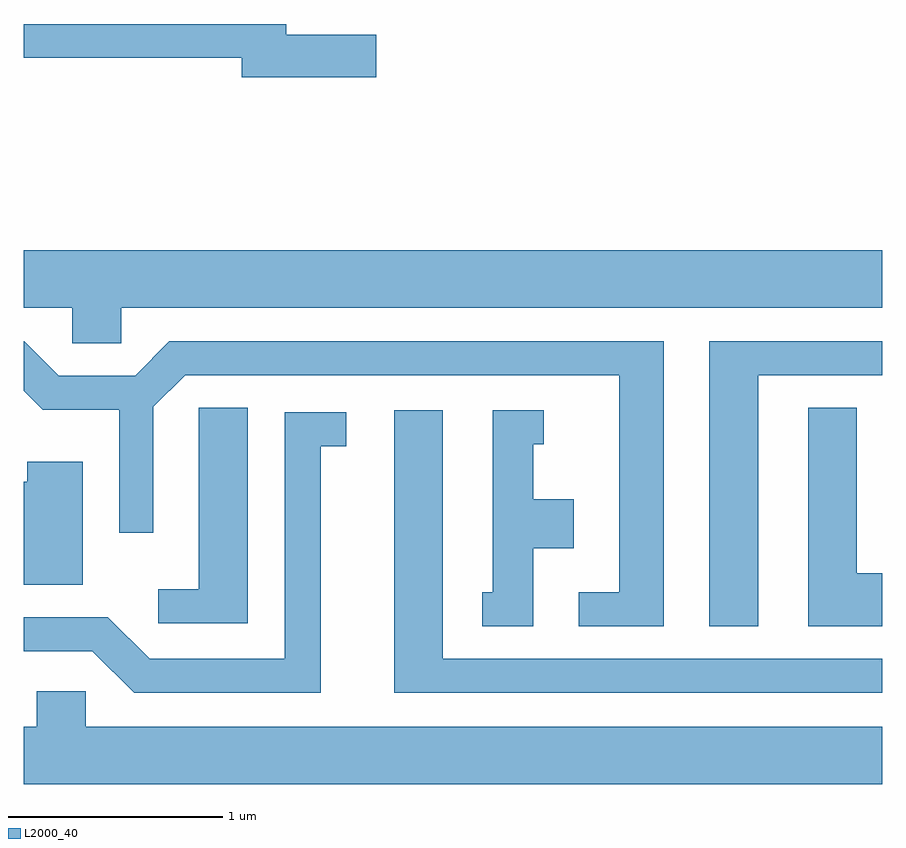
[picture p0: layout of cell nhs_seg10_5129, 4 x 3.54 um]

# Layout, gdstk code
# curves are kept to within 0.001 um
import gdstk
lib = gdstk.Library(unit=1e-6, precision=1e-09)
def P(c, l, *ps):  # polygons
    for p in ps: c.add(gdstk.Polygon(p, *l))
L2000_40 = (2000, 40)

nhs_seg10_5129 = lib.new_cell('nhs_seg10_5129')
P(nhs_seg10_5129, L2000_40, [(337.254,2188.449),(336.834,2188.449),(336.834,2188.499),(335.611,2188.499),(335.611,2188.341),(336.626,2188.341),(336.626,2188.251),(337.254,2188.251)],
  [(336.064,2187.176),(339.611,2187.176),(339.611,2187.444),(335.611,2187.444),(335.611,2187.176),(335.836,2187.176),(335.836,2187.011),(336.064,2187.011)],
  [(338.594,2187.019),(336.289,2187.019),(336.129,2186.859),(335.772,2186.859),(335.611,2187.019),(335.611,2186.789),(335.699,2186.701),(336.056,2186.701),(336.056,2186.128),(336.214,2186.128),(336.214,2186.714),(336.362,2186.861),(338.386,2186.861),(338.386,2185.849),(338.198,2185.849),(338.198,2185.691),(338.594,2185.691)],
  [(339.034,2186.861),(339.611,2186.861),(339.611,2187.019),(338.806,2187.019),(338.806,2185.691),(339.034,2185.691)],
  [(339.611,2185.939),(339.494,2185.939),(339.494,2186.709),(339.266,2186.709),(339.266,2185.691),(339.611,2185.691)],
  [(336.654,2186.709),(336.426,2186.709),(336.426,2185.864),(336.238,2185.864),(336.238,2185.706),(336.654,2185.706)],
  [(339.611,2185.539),(337.564,2185.539),(337.564,2186.699),(337.336,2186.699),(337.336,2185.381),(339.611,2185.381)],
  [(337.984,2186.056),(338.174,2186.056),(338.174,2186.284),(337.984,2186.284),(337.984,2186.541),(338.033,2186.541),(338.033,2186.699),(337.796,2186.699),(337.796,2185.849),(337.748,2185.849),(337.748,2185.691),(337.984,2185.691)],
  [(336.994,2186.531),(337.113,2186.531),(337.113,2186.689),(336.826,2186.689),(336.826,2185.539),(336.197,2185.539),(336.002,2185.734),(335.611,2185.734),(335.611,2185.576),(335.929,2185.576),(336.124,2185.381),(336.994,2185.381)],
  [(335.884,2186.459),(335.626,2186.459),(335.626,2186.364),(335.611,2186.364),(335.611,2185.886),(335.884,2185.886)],
  [(339.611,2185.224),(335.899,2185.224),(335.899,2185.389),(335.671,2185.389),(335.671,2185.224),(335.611,2185.224),(335.611,2184.956),(339.611,2184.956)])

lib.write_gds('nhs_seg10_5129.gds')
